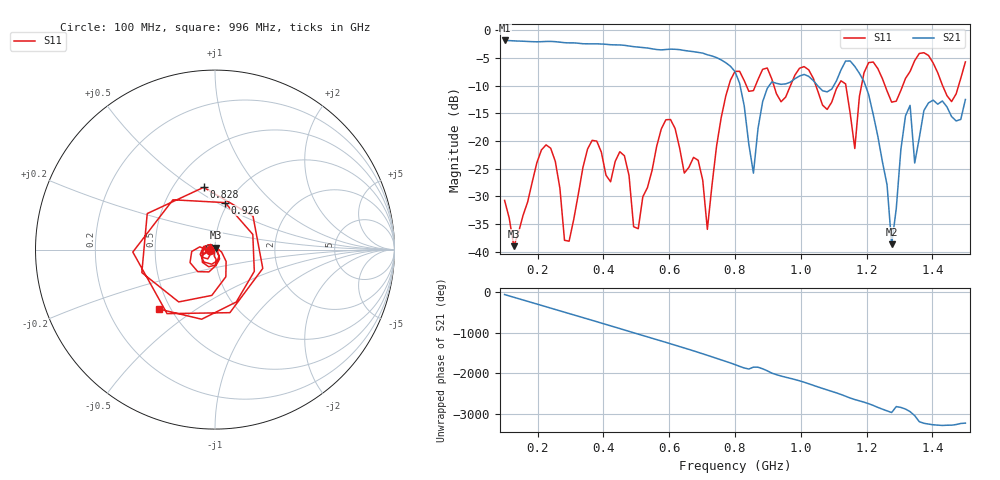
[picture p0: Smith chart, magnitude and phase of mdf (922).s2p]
! NanoVNA-App
! Date: 2025-09-25 15:45:36
! Start: 100MHz Stop: 1,5GHz Points: 101
! S-Parameter data: F S11 S21 S12 S22
# Hz S RI R 50
!  Frequency  S11_Real  S11_Imag  S21_Real  S21_Imag  S12_Real  S12_Imag  S22_Real  S22_Imag
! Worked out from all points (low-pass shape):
!   101 points, 100 MHz to 1.5 GHz, reference 50 ohm
!   highest |S21| = -1.80 dB at 100 MHz (marker M1); lowest = -38.7 dB at 1.276 GHz (marker M2)
!   |S21| within 3 dB of the highest: start of sweep to 739.3 MHz
!   lowest |S11| = -39.0 dB at 128 MHz (marker M3), VSWR 1.02, Z = 50.3 + j1.08 ohm
!   |S11| at or under -10 dB: start of sweep to 781.1 MHz; 918.4 MHz to 968.2 MHz (49.87 MHz wide, 5.29 % of centre); 1.046 GHz to 1.113 GHz (67.26 MHz wide, 6.23 % of centre) (the widest 3 of 7)
!   S12 and S22 are empty: the file has one direction only
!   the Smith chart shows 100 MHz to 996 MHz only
!   S11 on the Smith chart (normalised r, x): 100 MHz: 0.94, -0.01; 828 MHz: 0.70, +0.55; 926 MHz: 0.97, +0.55; 996 MHz: 0.43, -0.36
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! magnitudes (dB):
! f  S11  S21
! 100 MHz  -30.7  -1.8
! 128 MHz  -39.0  -1.9
! 212 MHz  -21.6  -2.0
! 282 MHz  -37.9  -2.2
! 338 MHz  -24.7  -2.4
! 464 MHz  -22.6  -2.7
! 506 MHz  -35.8  -3.0
! 576 MHz  -17.8  -3.5
! 716 MHz  -35.9  -4.4
! 800 MHz  -7.4  -7.4
! 828 MHz  -9.1  -13.6
! 856 MHz  -10.9  -25.8
! 926 MHz  -11.4  -9.6
! 996 MHz  -6.8  -8.2
! 1.038 GHz  -8.7  -9.1
! 1.136 GHz  -9.6  -5.5
! 1.164 GHz  -21.3  -6.5
! 1.192 GHz  -7.6  -9.2
! 1.276 GHz  -13.0  -38.7
! 1.332 GHz  -7.4  -13.5
! 1.346 GHz  -5.4  -23.9
! 1.5 GHz  -5.7  -12.5
